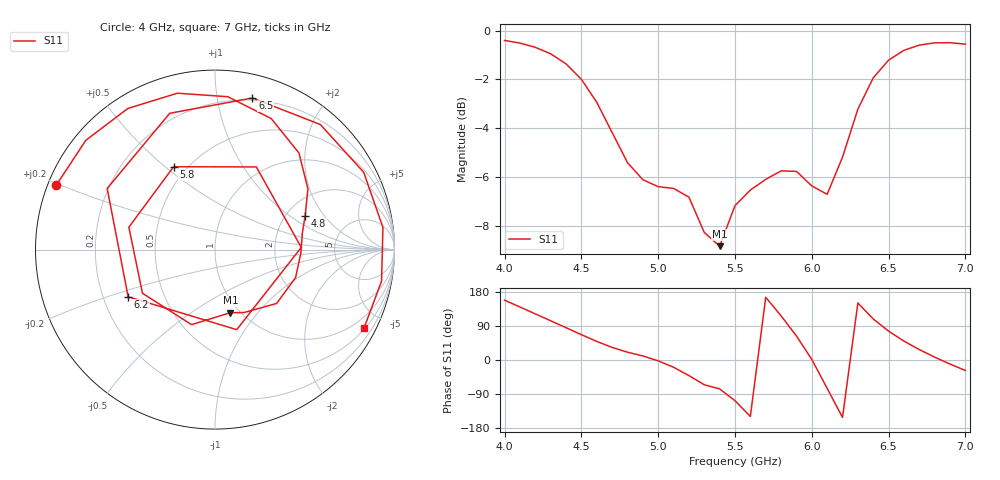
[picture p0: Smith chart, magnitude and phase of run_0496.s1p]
! Touchstone file exported from HFSS 2024.2.0
!  File:  C:/Users/wsak9/Desktop/Sim Fast/Widenad Patch/WP_AI_V1_sweep.aedt
!  Generated:  12:52:15 PM Oct 14, 2026
!  Design:  A1_model
!  Project:  WP_AI_V1_sweep
!  Setup:  Setup1
!  Solution:  Sweep
! Variables:
!  Air_gap = 2.15mm
!  Curve_Amp1 = 2.31
!  Curve_len1 = 1
!  Curve_pos = 10.14mm
!  Extra = 7.51mm
!  H_sub = 0.79mm
!  L_Patch = 16.28mm
!  L_Patch1 = 19.68mm
!  Sx = 2.71mm
!  Sy = 4.8mm
!  WS = 1.38mm
!  W_Patch = 16.65mm
!  W_Patch1 = 12.17mm
!Data is not renormalized
# GHz S MA
! Terminal data exported
! Port[1] = 1
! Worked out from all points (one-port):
!   31 points, 4 GHz to 7 GHz, reference per port
!   lowest |S11| = -8.8 dB at 5.4 GHz (marker M1), VSWR 2.13
!   |S11| at or under -10 dB: nowhere
!   S11 on the Smith chart (normalised r, x): 4 GHz: 0.02, +0.20; 4.8 GHz: 2.51, +1.33; 5.8 GHz: 0.42, +0.53; 6.2 GHz: 0.31, -0.23; 6.5 GHz: 0.18, +1.26; 7 GHz: 0.55, -3.99
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4  0.9545 157.9
4.1  0.9427 139.8
4.2  0.9242 121.7
4.3  0.8962 103.5
4.4  0.8548 85.2
4.5  0.7947 66.8
4.6  0.7131 49.0
4.8  0.5366 20.6
5.1  0.4752 -19.2
5.2  0.456 -41.1
5.3  0.3861 -65.3
5.4  0.362 -76.2
5.5  0.4381 -107.4
5.6  0.4716 -149.0
5.7  0.4959 165.4
5.8  0.516 116.6
5.9  0.515 63.4
6  0.4808 1.4
6.1  0.4622 -74.8
6.2  0.5506 -151.5
6.3  0.6906 150.5
6.4  0.8002 108.4
6.5  0.8699 76.1
6.6  0.9111 49.9
6.7  0.9338 27.5
6.8  0.9438 7.5
6.9  0.9444 -10.7
7  0.938 -27.6
